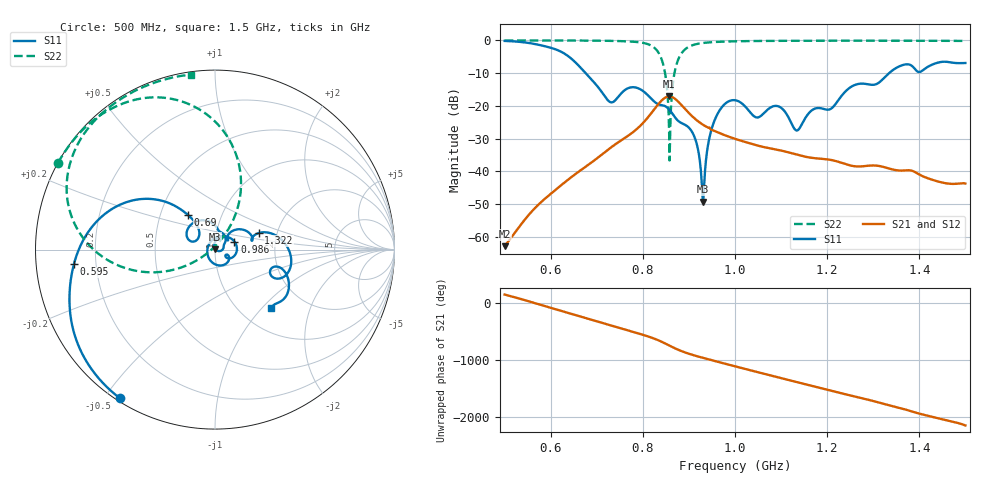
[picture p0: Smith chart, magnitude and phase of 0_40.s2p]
! TOUCHSTONE file generated by CST MICROWAVE STUDIO
! Date and time: Mon Sep 28 15:30:22 2020
! Project name: Scenario_1_Free_SPace.cst
! Parameters = {dx1=848.7; L_HA=400; MT=2.54; Rad_Dielectric=30; Rad_Lower=7.3; Rad_Upper=30; a_HA=580; a_WG=246; b_HA=500; b_WG=121; c_HA=0; c_WG=187; d_feed=85; h_feed=15; h_lower=18; h_upper=40}
! Header version: 2018
! Port assignment regex: !\s*Touchstone port\s*([0-9]+)\s*=\s*(CST MWS port|CST DS port)\s*([0-9]+|Zmin|Zmax)\s*\(\"(.*)\"\)(\s*mode\s*([0-9]+))?.*
! Touchstone port assignment:
! Touchstone port 1 = CST MWS port 1 ("")
! Touchstone port 2 = CST MWS port 2 ("")
# GHz S DB R 50
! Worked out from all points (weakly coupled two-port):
!   1003 points, 500 MHz to 1.5 GHz, reference 50 ohm
!   highest |S21| = -17.13 dB at 857 MHz (marker M1); lowest = -62.9 dB at 500 MHz (marker M2)
!   lowest |S11| = -49.3 dB at 931 MHz (marker M3), VSWR 1.01, Z = 50.2 + j0.273 ohm
!   |S11| at or under -10 dB: 675.9 MHz to 1.334 GHz (658.5 MHz wide, 65.5 % of centre)
!   |S22| runs from -36.7 to 0.0 dB; largest |S21 - S12| = 0.0039
!   S11 on the Smith chart (normalised r, x): 500 MHz: 0.01, -0.55; 595 MHz: 0.12, -0.05; 690 MHz: 0.69, +0.28; 986 MHz: 1.24, +0.11; 1.322 GHz: 1.61, +0.32; 1.5 GHz: 1.38, -1.13
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0.5  -0.15 -122.6  -62.90 153.8  -62.90 153.8  -0.01 151.1
0.595  -2.04 -174.1  -47.50 -67.7  -47.49 -67.6  -0.02 144.5
0.667  -8.64 135.1  -39.49 122.3  -39.49 122.3  -0.04 138.3
0.69  -12.16 128.1  -37.17 69.1  -37.17 69.1  -0.06 135.9
0.731  -18.94 145.7  -32.70 -27.8  -32.70 -27.8  -0.13 130.6
0.783  -14.35 129.1  -27.55 -152.9  -27.55 -152.9  -0.43 119.4
0.834  -19.52 77.5  -19.42 68.8  -19.42 68.8  -3.75 85.0
0.847  -20.01 64.2  -17.63 20.1  -17.63 20.1  -9.06 66.0
0.857  -21.07 48.7  -17.13 -20.6  -17.13 -20.6  -27.66 64.1
0.879  -24.85 29.1  -19.03 -104.4  -19.03 -104.4  -5.13 -171.2
0.912  -29.49 -11.2  -23.81 163.6  -23.81 163.6  -1.27 161.9
0.931  -49.33 52.7  -25.82 120.2  -25.82 120.2  -0.77 154.2
0.951  -26.27 85.4  -27.41 77.1  -26.89 80.8  -0.52 148.7
0.986  -18.64 22.7  -29.40 2.0  -29.40 2.1  -0.31 142.2
1  -18.28 -0.9  -30.08 -27.5  -30.08 -27.5  -0.26 140.2
1.047  -23.55 -28.9  -32.06 -125.3  -32.06 -125.3  -0.17 134.7
1.096  -20.25 -63.4  -33.55 133.9  -33.55 133.9  -0.12 130.1
1.134  -27.54 167.3  -34.92 55.4  -34.92 55.4  -0.10 126.8
1.167  -21.34 59.6  -35.90 -9.3  -35.91 -9.3  -0.09 124.2
1.322  -11.68 20.7  -38.67 32.5  -38.67 32.5  -0.09 112.4
1.334  -10.05 17.3  -39.15 6.8  -39.15 6.8  -0.09 111.5
1.5  -6.90 -45.9  -43.74 13.1  -43.75 13.1  -0.14 97.9
